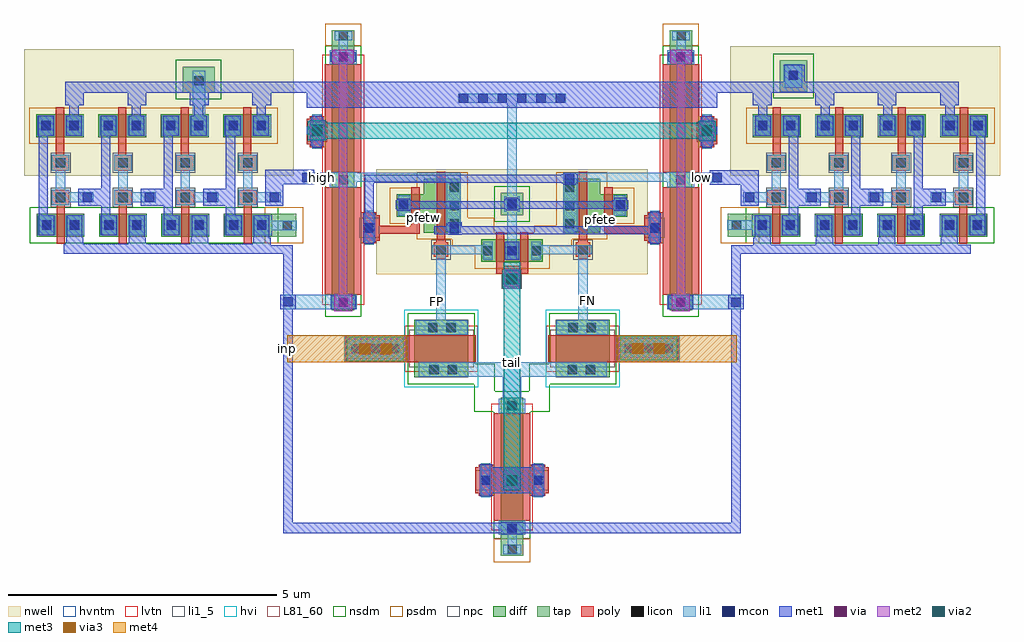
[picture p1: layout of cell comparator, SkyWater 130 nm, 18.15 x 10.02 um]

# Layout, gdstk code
from math import pi, radians
import gdstk
lib = gdstk.Library(unit=1e-6, precision=1e-09)
def R(c, l, rs):  # rectangles x0, y0, x1, y1
    for r in rs: c.add(gdstk.rectangle(r[:2], r[2:], *l))
def A(c, l, x, y, w, h, nx, ny, dx, dy):  # array of equal rectangles
    R(c, l, [(x+i*dx, y+j*dy, x+i*dx+w, y+j*dy+h) for i in range(nx) for j in range(ny)])
nwell = (64, 20)
diff = (65, 20)
tap = (65, 44)
poly = (66, 20)
licon = (66, 44)
li1_5 = (67, 5)
li1 = (67, 20)
mcon = (67, 44)
met1 = (68, 20)
via = (68, 44)
met2 = (69, 20)
via2 = (69, 44)
met3 = (70, 20)
via3 = (70, 44)
met4 = (71, 20)
hvi = (75, 20)
L81_60 = (81, 60)
nsdm = (93, 44)
psdm = (94, 20)
npc = (95, 20)
hvntm = (125, 20)
lvtn = (125, 44)

inv_lv = lib.new_cell('inv_LV')
R(inv_lv, nwell, [(4.935,1.61,6.47,3.15)])
R(inv_lv, diff, [(5.17,0.48,6.06,0.9), (5.16,2.33,6.05,2.75)])
R(inv_lv, poly, [(5.54,0.35,5.69,1.06), (5.45,1.06,5.78,1.35), (5.45,1.7,5.78,2), (5.53,2,5.68,2.88)])
R(inv_lv, licon, [(5.27,0.61,5.44,0.78), (5.79,0.61,5.96,0.78), (5.53,1.12,5.7,1.29), (5.53,1.77,5.7,1.94), (5.26,2.46,5.43,2.63), (5.78,2.46,5.95,2.63)])
R(inv_lv, li1, [(5.19,0.5,5.52,0.88), (5.71,0.5,6.06,0.88), (5.45,1.06,5.78,1.12), (5.45,1.12,6.225,1.3), (5.45,1.3,5.78,1.35), (5.53,1.35,5.7,1.7), (5.45,1.7,5.78,2), (5.18,2.35,5.51,2.73), (5.7,2.35,6.05,2.73)])
R(inv_lv, mcon, [(5.27,0.61,5.44,0.78), (5.79,0.61,5.96,0.78), (6.025,1.125,6.195,1.295), (5.26,2.46,5.43,2.63), (5.78,2.46,5.95,2.63)])
R(inv_lv, met1, [(5.72,0.16,6.04,0.46), (5.73,0.46,6.02,0.88), (5.21,0.5,5.5,0.88), (5.21,0.88,5.38,2.35), (5.945,1.05,6.275,1.37), (5.2,2.35,5.49,2.73), (5.72,2.35,6.01,2.73), (5.78,2.73,5.95,2.92), (5.7,2.92,6.05,3.26)])
R(inv_lv, nsdm, [(5.045,0.355,6.185,1.025)])
R(inv_lv, psdm, [(5.035,2.205,6.175,2.875)])
R(inv_lv, npc, [(5.43,1.02,5.8,1.39), (5.43,1.67,5.8,2.04)])
inv_lv.add(gdstk.Label('A', (6.105,1.22), layer=68, texttype=16))

comparator = lib.new_cell('comparator')
R(comparator, nwell, [(-1.795,-0.055,3.255,1.905), (4.79,3.31,9.805,4.185), (-8.345,3.32,-3.33,4.135)])
R(comparator, diff, [(0.52,-4.97,0.94,-2.35), (-1.085,-1.97,-0.085,-0.9), (1.545,-1.97,2.545,-0.9), (-2.62,-0.72,-2.2,4.195), (3.66,-0.72,4.08,4.195), (0.16,0.18,1.305,0.6), (-0.915,0.725,-0.22,1.015), (1.68,0.725,2.375,1.015), (-1.415,1.015,-0.22,1.435), (1.68,1.015,2.875,1.435), (-0.915,1.435,-0.22,1.725), (1.68,1.435,2.375,1.725)])
R(comparator, tap, [(0.52,-5.285,0.94,-4.97), (-3.74,0.65,-3.28,1.07), (4.74,0.65,5.2,1.07), (0.525,1.05,0.935,1.46), (-5.395,3.325,-4.8,3.81), (5.71,3.345,6.22,3.925), (-2.62,4.195,-2.2,4.485), (3.66,4.195,4.08,4.485)])
R(comparator, poly, [(0.39,-4.635,1.07,-4.17), (0.11,-4.17,1.35,-4.12), (0.05,-4.12,1.41,-3.645), (0.11,-3.645,1.35,-3.595), (0.39,-3.595,1.07,-2.635), (-2.39,-1.685,0.06,-1.185), (1.4,-1.685,3.85,-1.185), (-2.75,-0.435,-2.07,0.525), (3.53,-0.435,4.21,0.525), (0.64,-0.29,0.815,-0.275), (0.59,-0.275,0.865,-0.225), (0.56,-0.225,0.895,-0.045), (0.435,-0.045,1.03,0.105), (0.435,0.105,0.585,0.73), (0.88,0.105,1.03,0.73), (-0.675,0.24,-0.505,0.27), (1.965,0.24,2.135,0.27), (-0.725,0.27,-0.455,0.54), (1.915,0.27,2.185,0.54), (-2.75,0.525,-1.79,0.575), (3.25,0.525,4.21,0.575), (-0.675,0.54,-0.505,0.57), (1.965,0.54,2.135,0.57), (-0.665,0.57,-0.515,1.855), (1.975,0.57,2.125,1.855), (-2.75,0.575,-1.73,0.705), (3.19,0.575,4.21,0.705), (-2.75,0.705,-0.99,0.855), (2.45,0.705,4.21,0.855), (-2.75,0.855,-1.73,1.05), (-1.14,0.855,-0.99,1.565), (2.45,0.855,2.6,1.565), (3.19,0.855,4.21,1.05), (-2.75,1.05,-1.79,1.1), (3.25,1.05,4.21,1.1), (-2.75,1.1,-2.07,1.565), (3.53,1.1,4.21,1.565), (-2.75,1.85,-2.07,2.315), (3.53,1.85,4.21,2.315), (-3.03,2.315,-2.07,2.365), (3.53,2.315,4.49,2.365), (-3.09,2.365,-2.07,2.84), (3.53,2.365,4.55,2.84), (-3.03,2.84,-2.07,2.89), (3.53,2.84,4.49,2.89), (-2.75,2.89,-2.07,3.85), (3.53,2.89,4.21,3.85)])
A(comparator, licon, -2.235, -1.525, 0.17, 0.17, 3, 1, 0.34, 0)
A(comparator, licon, 2.845, -1.515, 0.17, 0.17, 3, 1, 0.34, 0)
A(comparator, licon, 0.2, 0.3, 0.17, 0.17, 3, 1, 0.445, 0)
A(comparator, licon, -0.43, 0.8, 0.17, 0.17, 1, 3, 0, 0.34)
A(comparator, licon, 1.72, 0.8, 0.17, 0.17, 1, 3, 0, 0.34)
R(comparator, licon, [(0.65,-5.255,0.82,-5.085), (0.645,-4.86,0.815,-4.69), (0.16,-3.97,0.33,-3.8), (1.13,-3.97,1.3,-3.8), (0.645,-2.58,0.815,-2.41), (-0.805,-1.915,-0.635,-1.745), (-0.465,-1.915,-0.295,-1.745), (1.765,-1.915,1.935,-1.745), (2.105,-1.915,2.275,-1.745), (-0.83,-1.13,-0.66,-0.96), (-0.49,-1.13,-0.32,-0.96), (1.78,-1.13,1.95,-0.96), (2.12,-1.13,2.29,-0.96), (-2.495,-0.66,-2.325,-0.49), (3.785,-0.66,3.955,-0.49), (0.64,-0.225,0.81,-0.055), (-0.675,0.32,-0.505,0.49), (1.965,0.32,2.135,0.49), (-2.01,0.725,-1.84,0.895), (3.3,0.725,3.47,0.895), (-3.535,0.77,-3.365,0.94), (4.82,0.775,4.99,0.945), (-1.37,1.155,-1.2,1.325), (2.66,1.155,2.83,1.325), (0.645,1.17,0.815,1.34), (-2.495,1.62,-2.325,1.79), (3.785,1.62,3.955,1.79), (-2.98,2.515,-2.81,2.685), (4.27,2.515,4.44,2.685), (-5.175,3.46,-5.005,3.63), (5.875,3.565,6.045,3.735), (-2.495,3.905,-2.325,4.075), (3.785,3.905,3.955,4.075), (-2.49,4.3,-2.32,4.47), (3.79,4.3,3.96,4.47)])
R(comparator, li1_5, [(-3.005,1.66,-2.58,1.835), (4.04,1.66,4.465,1.835)])
R(comparator, li1, [(0.57,-5.255,0.9,-5.085), (0.65,-5.085,0.82,-4.9), (0.48,-4.9,0.98,-4.635), (0.16,-4.2,0.33,-3.565), (1.13,-4.2,1.3,-3.565), (0.48,-2.635,0.98,-2.37), (0.56,-2.37,0.9,-1.96), (-1.005,-1.96,2.49,-1.69), (-0.11,-1.69,1.575,-1.685), (-2.39,-1.685,-1.23,-1.185), (2.69,-1.685,3.85,-1.185), (-1.06,-1.175,-0.09,-0.905), (1.55,-1.175,2.52,-0.905), (-0.675,-0.905,-0.505,0.32), (1.965,-0.905,2.135,0.32), (-3.52,-0.7,-2.16,-0.435), (3.62,-0.7,4.98,-0.435), (0.56,-0.235,0.895,-0.055), (0.2,0.22,0.37,0.32), (0.645,0.22,0.815,1.115), (1.09,0.22,1.26,0.32), (-0.755,0.32,0.37,0.49), (1.09,0.32,2.215,0.49), (0.2,0.49,0.37,0.55), (1.09,0.49,1.26,0.55), (-2.01,0.495,-1.84,1.13), (3.3,0.495,3.47,1.13), (-0.43,0.705,-0.26,0.725), (1.72,0.705,1.89,0.735), (-0.46,0.725,-0.23,0.735), (-0.495,0.735,-0.225,1.665), (1.685,0.735,1.955,1.665), (-3.74,0.77,-3.275,0.945), (4.735,0.775,5.41,0.95), (-1.385,1.035,-1.16,1.415), (2.62,1.035,2.845,1.415), (0.59,1.115,0.87,1.395), (0.645,1.395,0.815,3.135), (-2.66,1.565,-2.16,1.66), (3.62,1.565,4.12,1.66), (-3.175,1.66,-2.16,1.665), (3.62,1.66,4.635,1.665), (-3.175,1.665,-0.225,1.835), (1.685,1.665,4.635,1.835), (-2.66,1.835,-2.16,1.85), (3.62,1.835,4.12,1.85), (-2.98,2.285,-2.81,2.92), (4.27,2.285,4.44,2.92), (9.365,2.52,9.38,2.9), (-5.205,2.89,-4.975,3.735), (-0.27,3.135,1.73,3.305), (5.805,3.42,6.125,3.855), (-2.66,3.85,-2.16,4.115), (3.62,3.85,4.12,4.115), (-2.49,4.115,-2.32,4.3), (3.79,4.115,3.96,4.3), (-2.57,4.3,-2.24,4.47), (3.71,4.3,4.04,4.47)])
A(comparator, mcon, -2.255, -1.525, 0.17, 0.17, 3, 1, 0.36, 0)
A(comparator, mcon, 2.825, -1.515, 0.17, 0.17, 3, 1, 0.36, 0)
A(comparator, mcon, -0.255, 3.135, 0.17, 0.17, 6, 1, 0.36, 0)
R(comparator, mcon, [(0.645,-4.86,0.815,-4.69), (0.16,-3.97,0.33,-3.8), (1.13,-3.97,1.3,-3.8), (-2.495,-0.66,-2.325,-0.49), (3.785,-0.66,3.955,-0.49), (4.81,-0.655,4.98,-0.485), (-3.52,-0.65,-3.35,-0.48), (0.64,-0.225,0.81,-0.055), (0.645,0.3,0.815,0.47), (-0.43,0.715,-0.26,0.885), (-2.01,0.725,-1.84,0.895), (3.3,0.725,3.47,0.895), (-1.37,1.155,-1.2,1.325), (2.66,1.155,2.83,1.325), (0.645,1.17,0.815,1.34), (1.715,1.64,1.885,1.81), (-3.175,1.66,-3.005,1.83), (4.465,1.66,4.635,1.83), (-2.98,2.515,-2.81,2.685), (4.27,2.515,4.44,2.685), (5.875,3.565,6.045,3.735), (-2.495,3.905,-2.325,4.075), (3.785,3.905,3.955,4.075)])
R(comparator, met1, [(0.53,-4.89,0.93,-4.865), (-3.52,-4.865,4.98,-4.675), (-3.52,-4.675,-3.35,-0.7), (0.53,-4.675,0.93,-4.66), (4.81,-4.675,4.98,-0.7), (0.13,-4.18,0.36,-4.12), (1.1,-4.18,1.33,-4.12), (0.13,-4.12,1.33,-3.645), (0.13,-3.645,0.36,-3.585), (1.1,-3.645,1.33,-3.585), (-2.37,-1.665,-1.25,-1.215), (2.71,-1.655,3.83,-1.205), (-2.64,-0.705,-2.18,-0.445), (3.64,-0.705,4.1,-0.445), (-3.58,-0.7,-3.29,-0.435), (4.75,-0.7,5.04,-0.435), (-3.52,-0.435,-3.35,0.33), (4.81,-0.435,4.98,0.33), (0.585,-0.325,0.87,0.005), (0.595,0.005,0.855,0.02), (0.595,0.22,0.865,0.55), (-7.605,0.33,-3.35,0.485), (4.81,0.33,9.26,0.485), (-7.605,0.485,-4.05,0.52), (5.535,0.485,9.26,0.5), (-2.01,0.515,-1.84,0.545), (3.3,0.515,3.47,0.545), (-2.04,0.545,-1.81,1.08), (3.27,0.545,3.5,0.69), (-0.46,0.685,-0.2,0.69), (-0.72,0.69,3.5,0.84), (-0.49,0.84,-0.2,0.885), (3.27,0.84,3.5,1.08), (-0.46,0.885,-0.2,0.915), (-2.01,1.08,-1.84,1.65), (3.3,1.08,3.47,1.11), (-1.4,1.125,-1.165,1.155), (2.63,1.125,2.865,1.155), (0.615,1.14,0.845,1.17), (-1.43,1.155,-1.14,1.17), (2.595,1.155,2.89,1.17), (-1.43,1.17,2.89,1.31), (-7.015,1.22,-6.89,1.54), (-5.85,1.22,-5.725,1.54), (-4.69,1.22,-4.565,1.54), (6.035,1.22,6.17,1.54), (7.195,1.22,7.33,1.54), (8.36,1.22,8.495,1.54), (-1.43,1.31,-1.14,1.325), (0.585,1.31,0.875,1.34), (2.595,1.31,2.89,1.325), (-1.4,1.325,-1.165,1.355), (2.63,1.325,2.865,1.37), (0.615,1.34,0.845,1.375), (-3.855,1.52,-3.525,1.62), (4.985,1.53,5.315,1.61), (1.685,1.61,1.92,1.64), (4.405,1.61,5.315,1.88), (-3.855,1.62,-2.945,1.89), (1.655,1.64,1.95,1.65), (-2.01,1.65,1.95,1.8), (1.655,1.8,1.95,1.81), (1.685,1.81,1.92,1.84), (-2.98,2.305,-2.81,2.335), (4.27,2.305,4.44,2.335), (-3.01,2.335,-2.78,2.46), (4.24,2.335,4.47,2.46), (-3.025,2.46,-2.765,2.55), (4.225,2.46,4.485,2.55), (-3.09,2.55,-2.755,2.69), (4.215,2.55,4.55,2.69), (-3.025,2.69,-2.765,2.78), (4.225,2.69,4.485,2.78), (-3.01,2.78,-2.78,2.87), (4.24,2.78,4.47,2.87), (-2.98,2.87,-2.81,2.9), (4.27,2.87,4.44,2.9), (-3.09,3.045,4.55,3.325), (-7.58,3.325,9.04,3.525), (5.78,3.525,6.17,3.845), (-2.61,3.86,-2.21,3.905), (3.67,3.86,4.07,3.905), (-2.64,3.905,-2.18,4.075), (3.64,3.905,4.1,4.075), (-2.61,4.075,-2.21,4.12), (3.67,4.075,4.07,4.12)])
A(comparator, via, -2.205, -1.515, 0.15, 0.15, 3, 1, 0.32, 0)
A(comparator, via, 2.875, -1.505, 0.15, 0.15, 3, 1, 0.32, 0)
R(comparator, via, [(0.655,-3.96,0.805,-3.81), (-2.485,-0.65,-2.335,-0.5), (3.795,-0.65,3.945,-0.5), (0.65,-0.215,0.8,-0.065), (-2.97,2.545,-2.82,2.695), (4.28,2.545,4.43,2.695), (-2.485,3.915,-2.335,4.065), (3.795,3.915,3.945,4.065)])
R(comparator, met2, [(0.59,-4.07,0.87,-3.7), (-2.37,-1.665,-1.25,-1.215), (2.71,-1.655,3.83,-1.205), (-2.58,-0.735,-2.24,-0.415), (3.7,-0.735,4.04,-0.415), (-2.49,-0.415,-2.33,3.86), (3.79,-0.415,3.95,3.86), (0.585,-0.325,0.865,0.045), (4.215,2.435,4.495,2.805), (-3.035,2.44,-2.755,2.81), (-2.61,3.86,-2.21,4.12), (3.67,3.86,4.07,4.12)])
R(comparator, via2, [(0.63,-3.985,0.83,-3.785), (-2.11,-1.54,-1.91,-1.34), (-1.71,-1.54,-1.51,-1.34), (2.97,-1.53,3.17,-1.33), (3.37,-1.53,3.57,-1.33), (0.625,-0.24,0.825,-0.04), (4.255,2.52,4.455,2.72), (-2.995,2.525,-2.795,2.725)])
R(comparator, met3, [(0.58,-4.07,0.88,-4.05), (0.565,-4.05,0.895,-3.72), (0.58,-3.72,0.88,-0.31), (-2.34,-1.665,-1.28,-1.215), (2.74,-1.655,3.8,-1.205), (0.56,-0.31,0.89,0.025), (0.58,0.025,0.88,0.175), (4.215,2.435,4.52,2.455), (-3.035,2.44,-2.735,2.445), (-3.065,2.445,-2.725,2.47), (4.19,2.455,4.52,2.47), (-3.065,2.47,4.52,2.77), (-3.065,2.77,-2.725,2.795), (4.19,2.77,4.52,2.785), (4.215,2.785,4.52,2.805), (-3.035,2.795,-2.735,2.81)])
R(comparator, via3, [(-2.11,-1.54,-1.91,-1.34), (-1.71,-1.54,-1.51,-1.34), (2.97,-1.53,3.17,-1.33), (3.37,-1.53,3.57,-1.33)])
R(comparator, met4, [(-3.45,-1.685,-1.23,-1.185), (2.69,-1.685,4.91,-1.185)])
R(comparator, hvi, [(-1.27,-2.155,0.1,-0.715), (1.36,-2.155,2.73,-0.715)])
R(comparator, L81_60, [(-1.185,-1.785,0.015,-1.085), (1.445,-1.785,2.645,-1.085)])
A(comparator, nsdm, -7.095, 0.525, 0.02, 0.67, 3, 1, 1.16, 0)
A(comparator, nsdm, 6.215, 0.525, 0.02, 0.67, 3, 1, 1.16, 0)
R(comparator, nsdm, [(0.395,-4.97,1.065,-2.605), (0.025,-2.605,1.435,-2.225), (0.025,-2.225,0.41,-2.095), (1.05,-2.225,1.435,-2.095), (-1.21,-2.095,0.41,-1.715), (1.05,-2.095,2.67,-1.715), (-1.21,-1.715,0.04,-0.775), (1.42,-1.715,2.67,-0.775), (-2.745,-0.845,-2.075,4.195), (3.535,-0.845,4.205,4.195), (0.4,0.925,1.06,1.585), (-5.52,3.2,-4.675,3.935), (5.585,3.22,6.345,4.05)])
A(comparator, psdm, -7.105, 2.375, 0.02, 0.67, 3, 1, 1.16, 0)
A(comparator, psdm, 6.225, 2.375, 0.02, 0.67, 3, 1, 1.16, 0)
R(comparator, psdm, [(0.395,-5.41,1.065,-4.97), (0.035,0.055,1.43,0.47), (-0.38,0.47,1.84,0.6), (-3.865,0.525,-3.155,1.195), (4.615,0.525,5.325,1.195), (-1.04,0.6,2.5,0.725), (-1.04,0.725,0.4,0.89), (1.145,0.725,2.5,0.855), (1.555,0.855,2.5,0.89), (-1.54,0.89,0.4,1), (1.555,0.89,3,1.56), (-1.54,1,-0.095,1.56), (-1.04,1.56,-0.095,1.85), (1.555,1.56,2.5,1.85), (-2.745,4.195,-2.075,4.61), (3.535,4.195,4.205,4.61)])
R(comparator, npc, [(0.06,-4.07,0.43,-3.7), (1.03,-4.07,1.4,-3.7), (-2.335,-1.625,-1.285,-1.255), (2.745,-1.615,3.795,-1.245), (0.54,-0.325,0.91,0.045), (-0.775,0.22,-0.405,0.59), (1.865,0.22,2.235,0.59), (-2.11,0.625,-1.74,0.995), (3.2,0.625,3.57,0.995), (-3.08,2.415,-2.71,2.785), (4.17,2.415,4.54,2.785)])
R(comparator, hvntm, [(-1.27,-2.155,0.1,-0.715), (1.36,-2.155,2.73,-0.715)])
R(comparator, lvtn, [(0.34,-4.815,1.12,-2.455), (-1.265,-1.865,0.095,-1.005), (1.365,-1.865,2.725,-1.005), (-2.8,-0.615,-2.02,4.03), (3.48,-0.615,4.26,4.03)])
comparator.add(gdstk.Reference(inv_lv, (-9.8,0.17)))
comparator.add(gdstk.Reference(inv_lv, (-10.96,0.17)))
comparator.add(gdstk.Reference(inv_lv, (-12.12,0.17)))
comparator.add(gdstk.Reference(inv_lv, (-13.28,0.17)))
comparator.add(gdstk.Reference(inv_lv, (14.74,0.17), rotation=pi, x_reflection=True))
comparator.add(gdstk.Reference(inv_lv, (13.58,0.17), rotation=pi, x_reflection=True))
comparator.add(gdstk.Reference(inv_lv, (12.42,0.17), rotation=pi, x_reflection=True))
comparator.add(gdstk.Reference(inv_lv, (11.26,0.17), rotation=pi, x_reflection=True))
comparator.add(gdstk.Label('inp', (-3.45,-1.435), layer=71, texttype=5))
comparator.add(gdstk.Label('FP', (-0.675,-0.555), layer=67, texttype=5))
comparator.add(gdstk.Label('FN', (2.135,-0.545), layer=67, texttype=5))
comparator.add(gdstk.Label('tail', (0.72,-1.685), layer=67, texttype=5))
comparator.add(gdstk.Label('pfetw', (-0.915,1.005), layer=65, texttype=6))
comparator.add(gdstk.Label('pfete', (2.375,0.975), layer=65, texttype=6))
comparator.add(gdstk.Label('high', (-2.792,1.747), layer=67, texttype=5))
comparator.add(gdstk.Label('low', (4.252,1.747), layer=67, texttype=5))

lib.write_gds('comparator.gds')
